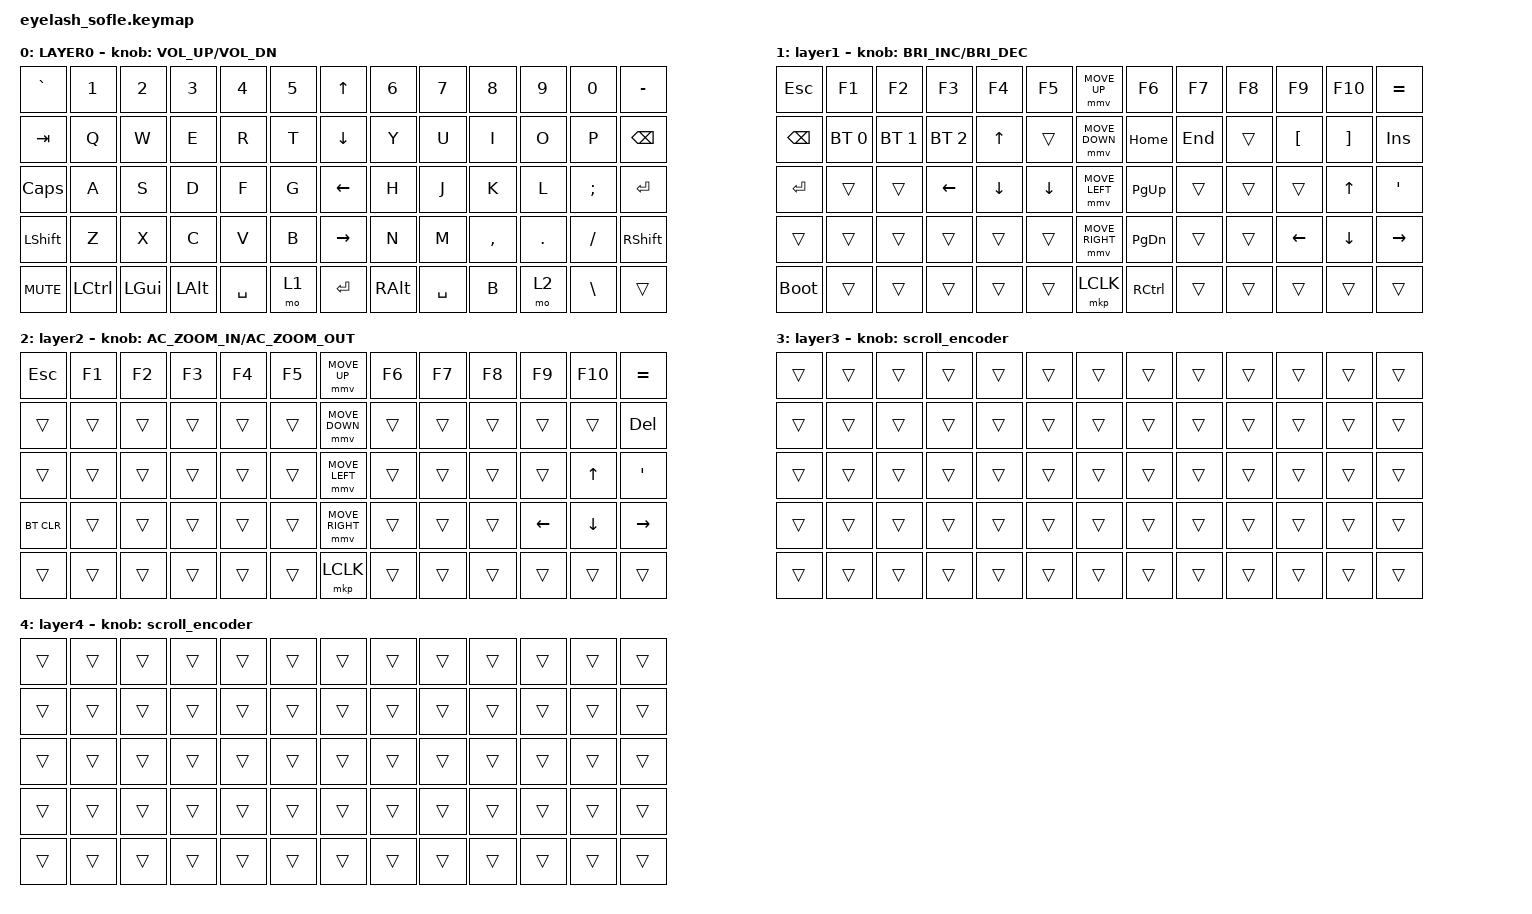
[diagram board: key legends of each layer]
#define ZMK_POINTING_DEFAULT_MOVE_VAL 1200  // 600
#define ZMK_POINTING_DEFAULT_SCRL_VAL 25   // 10

#include <input/processors.dtsi>
#include <zephyr/dt-bindings/input/input-event-codes.h>
#include <behaviors.dtsi>
#include <dt-bindings/zmk/bt.h>
#include <dt-bindings/zmk/keys.h>
#include <dt-bindings/zmk/pointing.h>

&mmv_input_listener { input-processors = <&zip_xy_scaler 2 1>; };

&msc_input_listener { input-processors = <&zip_scroll_scaler 2 1>; };

&msc {
    acceleration-exponent = <1>;      // 0
    time-to-max-speed-ms = <100>;       // 300
    delay-ms = <0>;                   // 0
};

&mmv {
    time-to-max-speed-ms = <500>;
    acceleration-exponent = <1>;
    trigger-period-ms = <16>;
};

&soft_off { hold-time-ms = <2000>; };

/ {
    scroll_encoder: scroll_encoder {
        compatible = "zmk,behavior-sensor-rotate";
        #sensor-binding-cells = <0>;
        bindings = <&msc SCRL_DOWN>, <&msc SCRL_UP>;

        tap-ms = <100>;
    };

    behaviors {
    };

    combos {
        compatible = "zmk,combos";

        softoff {
            bindings = <&soft_off>;
            key-positions = <14 28 40>;
        };
    };

    macros {
        SHIFT_MCLK: SHIFT_MCLK {
            compatible = "zmk,behavior-macro";
            #binding-cells = <0>;
            bindings =
                <&macro_press>,
                <&kp LEFT_SHIFT>,
                <&macro_press>,
                <&mkp MB3>,
                <&macro_pause_for_release>,
                <&macro_release>,
                <&kp LEFT_SHIFT &mkp MB3>;

            label = "SHIFT_MCLK";
        };
    };

    keymap {
        compatible = "zmk,keymap";

        layer0 {
            bindings = <
&kp GRAVE   &kp N1     &kp N2        &kp N3        &kp N4     &kp N5    &kp UP_ARROW     &kp N6         &kp N7     &kp N8     &kp N9   &kp N0         &kp MINUS
&kp TAB     &kp Q      &kp W         &kp E         &kp R      &kp T     &kp DOWN_ARROW   &kp Y          &kp U      &kp I      &kp O    &kp P          &kp BACKSPACE
&kp CAPS    &kp A      &kp S         &kp D         &kp F      &kp G     &kp LEFT_ARROW   &kp H          &kp J      &kp K      &kp L    &kp SEMI       &kp ENTER
&kp LSHFT   &kp Z      &kp X         &kp C         &kp V      &kp B     &kp RIGHT_ARROW  &kp N          &kp M      &kp COMMA  &kp DOT  &kp FSLH       &kp RIGHT_SHIFT
&kp C_MUTE  &kp LCTRL  &kp LEFT_GUI  &kp LEFT_ALT  &kp SPACE  &mo 1     &kp ENTER        &kp RIGHT_ALT  &kp SPACE  &kp B      &mo 2    &kp BACKSLASH  &trans
            >;

            sensor-bindings = <&inc_dec_kp C_VOLUME_UP C_VOL_DN>;
            display-name = "LAYER0";
        };

        layer_1 {
            bindings = <
&kp ESCAPE     &kp F1        &kp F2        &kp F3          &kp F4          &kp F5            &mmv MOVE_UP     &kp F6             &kp F7   &kp F8  &kp F9            &kp F10            &kp EQUAL
&kp BACKSPACE  &bt BT_SEL 0  &bt BT_SEL 1  &bt BT_SEL 2    &kp UP_ARROW    &trans            &mmv MOVE_DOWN   &kp HOME           &kp END  &trans  &kp LEFT_BRACKET  &kp RIGHT_BRACKET  &kp INS
&kp ENTER      &trans        &trans        &kp LEFT_ARROW  &kp DOWN_ARROW  &kp DOWN_ARROW    &mmv MOVE_LEFT   &kp PAGE_UP        &trans   &trans  &trans            &kp UP_ARROW       &kp APOS
&trans         &trans        &trans        &trans          &trans          &trans            &mmv MOVE_RIGHT  &kp PAGE_DOWN      &trans   &trans  &kp LEFT_ARROW    &kp DOWN_ARROW     &kp RIGHT_ARROW
&bootloader    &trans        &trans        &trans          &trans          &trans            &mkp LCLK        &kp RIGHT_CONTROL  &trans   &trans  &trans            &trans             &trans
            >;

            display-name = "layer1";
            sensor-bindings = <&inc_dec_kp C_BRIGHTNESS_INC C_BRIGHTNESS_DEC>;
        };

        layer_2 {
            bindings = <
&kp ESC     &kp F1  &kp F2  &kp F3  &kp F4  &kp F5    &mmv MOVE_UP     &kp F6  &kp F7  &kp F8  &kp F9          &kp F10         &kp EQUAL
&trans      &trans  &trans  &trans  &trans  &trans    &mmv MOVE_DOWN   &trans  &trans  &trans  &trans          &trans          &kp DEL
&trans      &trans  &trans  &trans  &trans  &trans    &mmv MOVE_LEFT   &trans  &trans  &trans  &trans          &kp UP_ARROW    &kp APOS
&bt BT_CLR  &trans  &trans  &trans  &trans  &trans    &mmv MOVE_RIGHT  &trans  &trans  &trans  &kp LEFT_ARROW  &kp DOWN_ARROW  &kp RIGHT_ARROW
&trans      &trans  &trans  &trans  &trans  &trans    &mkp LCLK        &trans  &trans  &trans  &trans          &trans          &trans
            >;

            display-name = "layer2";
            sensor-bindings = <&inc_dec_kp C_AC_ZOOM_IN C_AC_ZOOM_OUT>;
        };

        layer_3 {
            bindings = <
&trans  &trans  &trans  &trans  &trans  &trans    &trans  &trans  &trans  &trans  &trans  &trans  &trans
&trans  &trans  &trans  &trans  &trans  &trans    &trans  &trans  &trans  &trans  &trans  &trans  &trans
&trans  &trans  &trans  &trans  &trans  &trans    &trans  &trans  &trans  &trans  &trans  &trans  &trans
&trans  &trans  &trans  &trans  &trans  &trans    &trans  &trans  &trans  &trans  &trans  &trans  &trans
&trans  &trans  &trans  &trans  &trans  &trans    &trans  &trans  &trans  &trans  &trans  &trans  &trans
            >;

            display-name = "layer3";
            sensor-bindings = <&scroll_encoder>;
        };

        layer_4 {
            bindings = <
&trans  &trans  &trans  &trans  &trans  &trans    &trans  &trans  &trans  &trans  &trans  &trans  &trans
&trans  &trans  &trans  &trans  &trans  &trans    &trans  &trans  &trans  &trans  &trans  &trans  &trans
&trans  &trans  &trans  &trans  &trans  &trans    &trans  &trans  &trans  &trans  &trans  &trans  &trans
&trans  &trans  &trans  &trans  &trans  &trans    &trans  &trans  &trans  &trans  &trans  &trans  &trans
&trans  &trans  &trans  &trans  &trans  &trans    &trans  &trans  &trans  &trans  &trans  &trans  &trans
            >;

            display-name = "layer4";
            sensor-bindings = <&scroll_encoder>;
        };
    };
};
